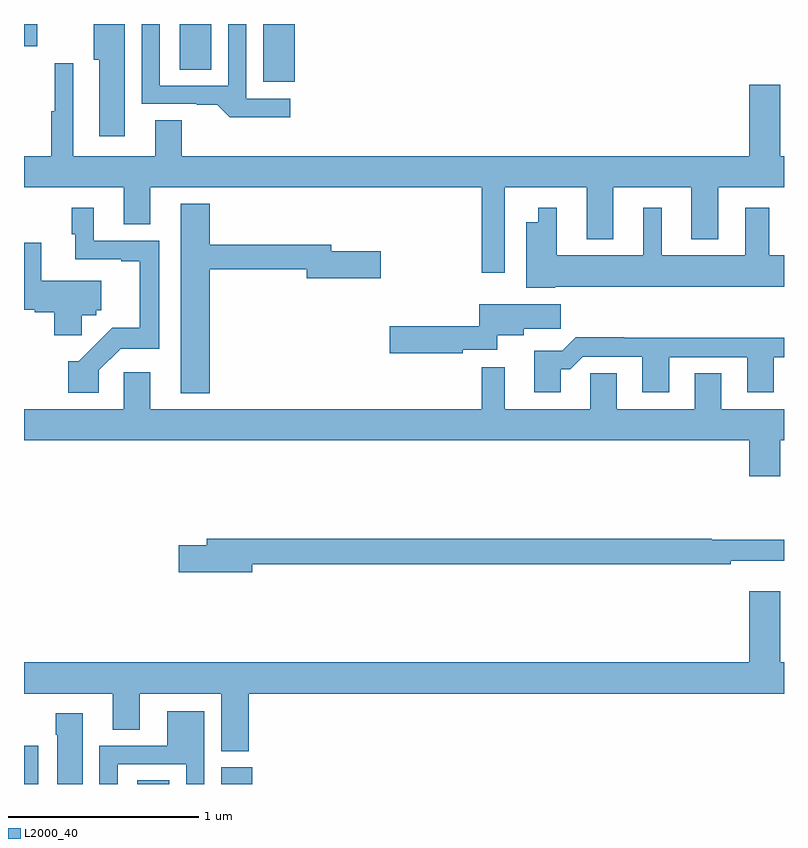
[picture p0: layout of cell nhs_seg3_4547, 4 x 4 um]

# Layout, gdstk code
import gdstk
lib = gdstk.Library(unit=1e-6, precision=1e-09)
def R(c, l, rs):  # rectangles x0, y0, x1, y1
    for r in rs: c.add(gdstk.rectangle(r[:2], r[2:], *l))
def P(c, l, *ps):  # polygons
    for p in ps: c.add(gdstk.Polygon(p, *l))
L2000_40 = (2000, 40)

nhs_seg3_4547 = lib.new_cell('nhs_seg3_4547')
R(nhs_seg3_4547, L2000_40, [(353,740.4,353.074,740.602), (353.597,740.4,353.764,740.42), (354.038,740.4,354.2,740.487), (354.26,744.095,354.424,744.4), (353.819,744.16,353.986,744.4), (353,744.284,353.071,744.4)])
P(nhs_seg3_4547, L2000_40, [(353.53,744.4),(353.368,744.4),(353.368,744.213),(353.396,744.213),(353.396,743.808),(353.53,743.808)],
  [(354.4,744.006),(354.171,744.006),(354.171,744.4),(354.075,744.4),(354.075,744.075),(353.715,744.075),(353.715,744.4),(353.619,744.4),(353.619,743.979),(353.909,743.979),(353.909,743.974),(354.017,743.974),(354.083,743.909),(354.4,743.909)],
  [(353.26,744.193),(353.162,744.193),(353.162,743.94),(353.143,743.94),(353.143,743.704),(353,743.704),(353,743.54),(353.525,743.54),(353.525,743.346),(353.665,743.346),(353.665,743.54),(355.41,743.54),(355.41,743.091),(355.531,743.091),(355.531,743.54),(355.961,743.54),(355.961,743.267),(356.101,743.267),(356.101,743.54),(356.513,743.54),(356.513,743.267),(356.653,743.267),(356.653,743.54),(357,743.54),(357,743.704),(356.98,743.704),(356.98,744.079),(356.816,744.079),(356.816,743.704),(353.83,743.704),(353.83,743.894),(353.69,743.894),(353.69,743.704),(353.26,743.704)],
  [(353.978,743.11),(354.488,743.11),(354.488,743.063),(354.877,743.063),(354.877,743.205),(354.616,743.205),(354.616,743.239),(353.978,743.239),(353.978,743.455),(353.825,743.455),(353.825,742.457),(353.978,742.457)],
  [(353.394,742.578),(353.508,742.692),(353.713,742.692),(353.713,743.259),(353.368,743.259),(353.368,743.434),(353.251,743.434),(353.251,743.294),(353.27,743.294),(353.27,743.163),(353.513,743.163),(353.513,743.151),(353.609,743.151),(353.609,742.802),(353.465,742.802),(353.287,742.624),(353.234,742.624),(353.234,742.458),(353.394,742.458)],
  [(355.797,743.018),(357,743.018),(357,743.182),(356.923,743.182),(356.923,743.434),(356.795,743.434),(356.795,743.182),(356.356,743.182),(356.356,743.434),(356.258,743.434),(356.258,743.182),(355.804,743.182),(355.804,743.434),(355.706,743.434),(355.706,743.356),(355.643,743.356),(355.643,743.012),(355.797,743.012)],
  [(353.303,742.866),(353.379,742.866),(353.379,742.893),(353.407,742.893),(353.407,743.05),(353.092,743.05),(353.092,743.248),(353,743.248),(353,742.895),(353.057,742.895),(353.057,742.883),(353.159,742.883),(353.159,742.761),(353.303,742.761)],
  [(355.308,742.685),(355.491,742.685),(355.491,742.763),(355.63,742.763),(355.63,742.795),(355.825,742.795),(355.825,742.924),(355.395,742.924),(355.395,742.808),(354.924,742.808),(354.924,742.666),(355.308,742.666)],
  [(355.825,742.583),(355.874,742.583),(355.941,742.65),(356.255,742.65),(356.255,742.461),(356.395,742.461),(356.395,742.647),(356.807,742.647),(356.807,742.461),(356.947,742.461),(356.947,742.647),(357,742.647),(357,742.748),(356.159,742.748),(356.159,742.751),(355.904,742.751),(355.834,742.681),(355.685,742.681),(355.685,742.461),(355.825,742.461)],
  [(356.98,742.208),(357,742.208),(357,742.372),(356.671,742.372),(356.671,742.562),(356.531,742.562),(356.531,742.372),(356.119,742.372),(356.119,742.562),(355.98,742.562),(355.98,742.372),(355.531,742.372),(355.531,742.594),(355.41,742.594),(355.41,742.372),(353.665,742.372),(353.665,742.567),(353.526,742.567),(353.526,742.372),(353,742.372),(353,742.208),(356.816,742.208),(356.816,742.02),(356.98,742.02)],
  [(354.202,741.556),(356.72,741.556),(356.72,741.575),(357,741.575),(357,741.685),(356.62,741.685),(356.62,741.692),(353.963,741.692),(353.963,741.656),(353.814,741.656),(353.814,741.514),(354.202,741.514)],
  [(354.182,740.876),(357,740.876),(357,741.04),(356.98,741.04),(356.98,741.415),(356.816,741.415),(356.816,741.04),(353,741.04),(353,740.876),(353.468,740.876),(353.468,740.686),(353.608,740.686),(353.608,740.876),(354.038,740.876),(354.038,740.572),(354.182,740.572)],
  [(353.493,740.505),(353.853,740.505),(353.853,740.4),(353.949,740.4),(353.949,740.782),(353.753,740.782),(353.753,740.601),(353.397,740.601),(353.397,740.4),(353.493,740.4)],
  [(353.308,740.773),(353.167,740.773),(353.167,740.66),(353.174,740.66),(353.174,740.4),(353.308,740.4)])

lib.write_gds('nhs_seg3_4547.gds')
